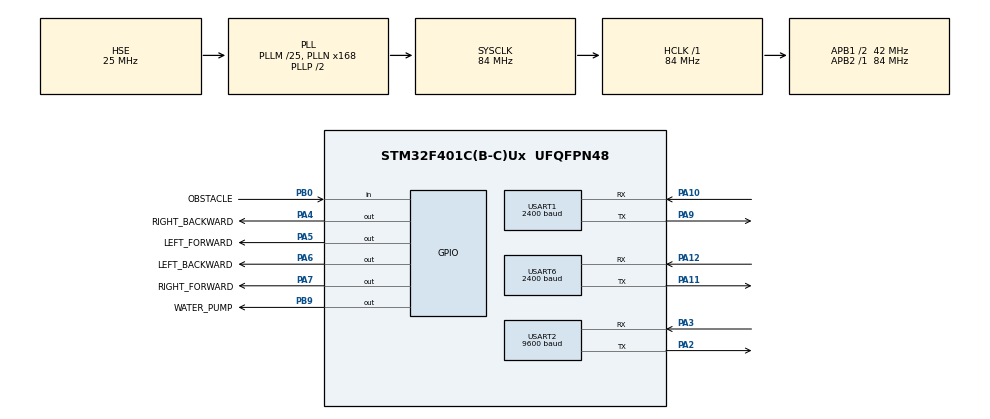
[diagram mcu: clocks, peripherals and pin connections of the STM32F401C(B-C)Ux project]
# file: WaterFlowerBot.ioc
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Mcu.Family=STM32F4
Mcu.Name=STM32F401C(B-C)Ux
Mcu.Package=UFQFPN48
NVIC.PriorityGroup=NVIC_PRIORITYGROUP_4
NVIC.TIM2_IRQn=true\:0\:0\:false\:false\:true\:true\:true
NVIC.USART2_IRQn=true\:0\:0\:false\:false\:true\:true\:true
PA10.Mode=Asynchronous
PA10.Signal=USART1_RX
PA11.Mode=Asynchronous
PA11.Signal=USART6_TX
PA12.Mode=Asynchronous
PA12.Signal=USART6_RX
PA13.Mode=Serial_Wire
PA13.Signal=SYS_JTMS-SWDIO
PA14.Mode=Serial_Wire
PA14.Signal=SYS_JTCK-SWCLK
PA2.Mode=Asynchronous
PA2.Signal=USART2_TX
PA3.Mode=Asynchronous
PA3.Signal=USART2_RX
PA4.GPIO_Label=RIGHT_BACKWARD
PA4.Signal=GPIO_Output
PA5.GPIO_Label=LEFT_FORWARD
PA5.Signal=GPIO_Output
PA6.GPIO_Label=LEFT_BACKWARD
PA6.Signal=GPIO_Output
PA7.GPIO_Label=RIGHT_FORWARD
PA7.Signal=GPIO_Output
PA9.Mode=Asynchronous
PA9.Signal=USART1_TX
PB0.GPIO_Label=OBSTACLE
PB0.Signal=GPIO_Input
PB9.GPIO_Label=WATER_PUMP
PB9.Signal=GPIO_Output
PC14-OSC32_IN.Mode=LSE-External-Oscillator
PC14-OSC32_IN.Signal=RCC_OSC32_IN
PC15-OSC32_OUT.Mode=LSE-External-Oscillator
PC15-OSC32_OUT.Signal=RCC_OSC32_OUT
PH0\ -\ OSC_IN.Mode=HSE-External-Oscillator
PH0\ -\ OSC_IN.Signal=RCC_OSC_IN
PH1\ -\ OSC_OUT.Mode=HSE-External-Oscillator
PH1\ -\ OSC_OUT.Signal=RCC_OSC_OUT
ProjectManager.HeapSize=0x200
ProjectManager.StackSize=0x400
ProjectManager.TargetToolchain=STM32CubeIDE
RCC.48MHZClocksFreq_Value=42000000
RCC.AHBFreq_Value=84000000
RCC.APB1CLKDivider=RCC_HCLK_DIV2
RCC.APB1Freq_Value=42000000
RCC.APB1TimFreq_Value=84000000
RCC.APB2Freq_Value=84000000
RCC.APB2TimFreq_Value=84000000
RCC.CortexFreq_Value=84000000
RCC.HCLKFreq_Value=84000000
RCC.HSE_VALUE=25000000
RCC.HSI_VALUE=16000000
RCC.PLLM=25
RCC.PLLN=168
RCC.PLLSourceVirtual=RCC_PLLSOURCE_HSE
RCC.SYSCLKFreq_VALUE=84000000
RCC.SYSCLKSource=RCC_SYSCLKSOURCE_PLLCLK
RCC.VCOOutputFreq_Value=168000000
TIM2.Period=1999
TIM2.Prescaler=720
USART1.BaudRate=2400
USART1.Parity=PARITY_EVEN
USART1.StopBits=STOPBITS_2
USART1.VirtualMode=VM_ASYNC
USART2.BaudRate=9600
USART2.VirtualMode=VM_ASYNC
USART6.BaudRate=2400
USART6.Parity=PARITY_EVEN
USART6.StopBits=STOPBITS_2
USART6.VirtualMode=VM_ASYNC
VP_TIM2_VS_ClockSourceINT.Mode=Internal
board=custom

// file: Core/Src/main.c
/* USER CODE BEGIN Header */
/**
 ******************************************************************************
 * @file           : main.c
 * @brief          : Main program body
 ******************************************************************************
 * @attention
 *
 * <h2><center>&copy; Copyright (c) 2021 STMicroelectronics.
 * All rights reserved.</center></h2>
 *
 * This software component is licensed by ST under BSD 3-Clause license,
 * the "License"; You may not use this file except in compliance with the
 * License. You may obtain a copy of the License at:
 *                        opensource.org/licenses/BSD-3-Clause
 *
 ******************************************************************************
 */
/* USER CODE END Header */
#include "main.h"

/* USER CODE BEGIN Includes */
#include "mylib.h"
/* USER CODE END Includes */

TIM_HandleTypeDef htim2;

UART_HandleTypeDef huart1;
UART_HandleTypeDef huart2;
UART_HandleTypeDef huart6;

void SystemClock_Config(void);
static void MX_GPIO_Init(void);
static void MX_USART1_UART_Init(void);
static void MX_USART6_UART_Init(void);
static void MX_USART2_UART_Init(void);
static void MX_TIM2_Init(void);

/* USER CODE BEGIN 0 */
uint8_t Rx_left[10];
uint8_t Rx_right[10];

int8_t left = 0;
int8_t right = 0;

int8_t previous = 0;
uint8_t flowerCode = CODE_R;
uint8_t leftRightForward = 0;

uint16_t findAmount(uint8_t flowerCode)
{
	for (int8_t i = 0; i < 3; i++) {
			if (amount[i].flowerCode == flowerCode)
				return amount[i].waterAmount;
		}
return 0;
}

void stop() {
	HAL_GPIO_WritePin(GPIOA,
			RIGHT_BACKWARD_Pin | LEFT_FORWARD_Pin | LEFT_BACKWARD_Pin
					| RIGHT_FORWARD_Pin, GPIO_PIN_RESET);
	left = 0;
	right = 0;

}

void forward() {
	stop();
	HAL_GPIO_WritePin(GPIOA, RIGHT_FORWARD_Pin | LEFT_FORWARD_Pin,GPIO_PIN_SET);
	left = 1;
	right = 1;
}

void turnLeft() {
	stop();
	HAL_GPIO_WritePin(RIGHT_FORWARD_GPIO_Port, RIGHT_FORWARD_Pin, GPIO_PIN_SET);

	HAL_GPIO_WritePin(LEFT_BACKWARD_GPIO_Port, LEFT_BACKWARD_Pin, GPIO_PIN_SET);
	left = -1;
	right = 1;

	previous = -1;

}

void turnRight() {
	stop();
	HAL_GPIO_WritePin(LEFT_FORWARD_GPIO_Port, LEFT_FORWARD_Pin, GPIO_PIN_SET);

	HAL_GPIO_WritePin(RIGHT_BACKWARD_GPIO_Port, RIGHT_BACKWARD_Pin, GPIO_PIN_SET);
	left = 1;
	right = -1;

	previous = 1;

}
void backward() {
	stop();
	HAL_GPIO_WritePin(GPIOA, RIGHT_BACKWARD_Pin | LEFT_BACKWARD_Pin,GPIO_PIN_SET);
	left = -1;
	right = -1;

}

void readLeftSensor() {
	HAL_UART_Receive(&huart6, Rx_left, 10, 100);
}

void readRightSensor() {
	HAL_UART_Receive(&huart1, Rx_right, 10, 100);
}

void pumpON() {
	HAL_GPIO_WritePin(WATER_PUMP_GPIO_Port, WATER_PUMP_Pin, GPIO_PIN_RESET);
}

void pumpOFF() {
	HAL_GPIO_WritePin(WATER_PUMP_GPIO_Port, WATER_PUMP_Pin, GPIO_PIN_SET);
}

void pump(uint16_t time) {
	HAL_Delay(100);
	pumpON();
	HAL_Delay(time);
	pumpOFF();
	HAL_Delay(100);
}

void readSensor() {
	readLeftSensor();
	readRightSensor();
}

uint8_t karar(uint8_t code) {
	uint8_t rcount = 0;
	uint8_t lcount = 0;
	for (uint8_t i = 0; i < 10; ++i) // Using for loop we are initializing
			{
		if (Rx_right[i] == code) {
			rcount++;
		}

		if (Rx_left[i] == code) {
			lcount++;
		}

	}

	if (rcount > 0 && lcount > 0) {
		return 0;
	} else if (lcount > 0) {
		return 1;
	} else if (rcount > 0) {
		return 2;
	} else {
		return 3;
	}

}

void resetReadValue() {
	for (uint8_t i = 0; i < 10; ++i) {
		Rx_right[i] = Rx_left[i] = 0;
	}
}

uint8_t readProximity() {
	if (!HAL_GPIO_ReadPin(OBSTACLE_GPIO_Port, OBSTACLE_Pin)) {
		return 1;
	} else {
		return 0;
	}
}

void ara() {
	readSensor();
	leftRightForward = karar(flowerCode);

	switch (leftRightForward) {
	case 0:
		if (readProximity()) {
			HAL_Delay(100);
			stop();

			pump(findAmount(flowerCode));

			if (flowerCode == CODE_R)
				{flowerCode = CODE_G;}
			else if (flowerCode == CODE_G)
				{flowerCode = CODE_B;}
			else if (flowerCode == CODE_B)
				{flowerCode = CODE_R;
						backward();
						HAL_Delay(7500);
						stop();
						HAL_Delay(10000);}

		} else {
			forward();
		}
		break;

	case 1:

		turnLeft();
		break;

	case 2:

		turnRight();
		break;
	case 3:
		//obstacle detected
		if (readProximity()) {

			backward();
			HAL_Delay(5000);

		} else {
			if (previous > 0) {
				turnRight();

			} else {
				turnLeft();
			}

			//forward();
			//HAL_Delay(2500);
		}
		break;
	default:

		break;
	}

	resetReadValue();
}

/* USER CODE END 0 */

int main(void)
{

  /* MCU Configuration--------------------------------------------------------*/

  /* Reset of all peripherals, Initializes the Flash interface and the Systick. */
  HAL_Init();

  /* Configure the system clock */
  SystemClock_Config();

  /* Initialize all configured peripherals */
  MX_GPIO_Init();
  MX_USART1_UART_Init();
  MX_USART6_UART_Init();
  MX_USART2_UART_Init();
  MX_TIM2_Init();
  /* USER CODE BEGIN 2 */

	pumpOFF();
	HAL_Delay(100);
	memset(buffer, 0, sizeof(buffer));
	HAL_TIM_Base_Start_IT(&htim2);
	__HAL_UART_ENABLE_IT(&huart2, UART_IT_RXNE);

  /* USER CODE END 2 */

  /* Infinite loop */
  /* USER CODE BEGIN WHILE */
	while (1) {

		if (automode == 1) {
			ara();

		}

    /* USER CODE END WHILE */

	}
}

void SystemClock_Config(void)
{
  RCC_OscInitTypeDef RCC_OscInitStruct = {0};
  RCC_ClkInitTypeDef RCC_ClkInitStruct = {0};

  /** Configure the main internal regulator output voltage
  */
  __HAL_RCC_PWR_CLK_ENABLE();
  __HAL_PWR_VOLTAGESCALING_CONFIG(PWR_REGULATOR_VOLTAGE_SCALE2);
  /** Initializes the RCC Oscillators according to the specified parameters
  * in the RCC_OscInitTypeDef structure.
  */
  RCC_OscInitStruct.OscillatorType = RCC_OSCILLATORTYPE_HSE;
  RCC_OscInitStruct.HSEState = RCC_HSE_ON;
  RCC_OscInitStruct.PLL.PLLState = RCC_PLL_ON;
  RCC_OscInitStruct.PLL.PLLSource = RCC_PLLSOURCE_HSE;
  RCC_OscInitStruct.PLL.PLLM = 25;
  RCC_OscInitStruct.PLL.PLLN = 168;
  RCC_OscInitStruct.PLL.PLLP = RCC_PLLP_DIV2;
  RCC_OscInitStruct.PLL.PLLQ = 4;
  if (HAL_RCC_OscConfig(&RCC_OscInitStruct) != HAL_OK)
  {
    Error_Handler();
  }
  /** Initializes the CPU, AHB and APB buses clocks
  */
  RCC_ClkInitStruct.ClockType = RCC_CLOCKTYPE_HCLK|RCC_CLOCKTYPE_SYSCLK
                              |RCC_CLOCKTYPE_PCLK1|RCC_CLOCKTYPE_PCLK2;
  RCC_ClkInitStruct.SYSCLKSource = RCC_SYSCLKSOURCE_PLLCLK;
  RCC_ClkInitStruct.AHBCLKDivider = RCC_SYSCLK_DIV1;
  RCC_ClkInitStruct.APB1CLKDivider = RCC_HCLK_DIV2;
  RCC_ClkInitStruct.APB2CLKDivider = RCC_HCLK_DIV1;

  if (HAL_RCC_ClockConfig(&RCC_ClkInitStruct, FLASH_LATENCY_2) != HAL_OK)
  {
    Error_Handler();
  }
}

static void MX_TIM2_Init(void)
{

  TIM_ClockConfigTypeDef sClockSourceConfig = {0};
  TIM_MasterConfigTypeDef sMasterConfig = {0};

  htim2.Instance = TIM2;
  htim2.Init.Prescaler = 720;
  htim2.Init.CounterMode = TIM_COUNTERMODE_UP;
  htim2.Init.Period = 1999;
  htim2.Init.ClockDivision = TIM_CLOCKDIVISION_DIV1;
  htim2.Init.AutoReloadPreload = TIM_AUTORELOAD_PRELOAD_DISABLE;
  if (HAL_TIM_Base_Init(&htim2) != HAL_OK)
  {
    Error_Handler();
  }
  sClockSourceConfig.ClockSource = TIM_CLOCKSOURCE_INTERNAL;
  if (HAL_TIM_ConfigClockSource(&htim2, &sClockSourceConfig) != HAL_OK)
  {
    Error_Handler();
  }
  sMasterConfig.MasterOutputTrigger = TIM_TRGO_RESET;
  sMasterConfig.MasterSlaveMode = TIM_MASTERSLAVEMODE_DISABLE;
  if (HAL_TIMEx_MasterConfigSynchronization(&htim2, &sMasterConfig) != HAL_OK)
  {
    Error_Handler();
  }

}

static void MX_USART1_UART_Init(void)
{

  huart1.Instance = USART1;
  huart1.Init.BaudRate = 2400;
  huart1.Init.WordLength = UART_WORDLENGTH_8B;
  huart1.Init.StopBits = UART_STOPBITS_2;
  huart1.Init.Parity = UART_PARITY_EVEN;
  huart1.Init.Mode = UART_MODE_TX_RX;
  huart1.Init.HwFlowCtl = UART_HWCONTROL_NONE;
  huart1.Init.OverSampling = UART_OVERSAMPLING_16;
  if (HAL_UART_Init(&huart1) != HAL_OK)
  {
    Error_Handler();
  }

}

static void MX_USART2_UART_Init(void)
{

  huart2.Instance = USART2;
  huart2.Init.BaudRate = 9600;
  huart2.Init.WordLength = UART_WORDLENGTH_8B;
  huart2.Init.StopBits = UART_STOPBITS_1;
  huart2.Init.Parity = UART_PARITY_NONE;
  huart2.Init.Mode = UART_MODE_TX_RX;
  huart2.Init.HwFlowCtl = UART_HWCONTROL_NONE;
  huart2.Init.OverSampling = UART_OVERSAMPLING_16;
  if (HAL_UART_Init(&huart2) != HAL_OK)
  {
    Error_Handler();
  }

}

static void MX_USART6_UART_Init(void)
{

  huart6.Instance = USART6;
  huart6.Init.BaudRate = 2400;
  huart6.Init.WordLength = UART_WORDLENGTH_8B;
  huart6.Init.StopBits = UART_STOPBITS_2;
  huart6.Init.Parity = UART_PARITY_EVEN;
  huart6.Init.Mode = UART_MODE_TX_RX;
  huart6.Init.HwFlowCtl = UART_HWCONTROL_NONE;
  huart6.Init.OverSampling = UART_OVERSAMPLING_16;
  if (HAL_UART_Init(&huart6) != HAL_OK)
  {
    Error_Handler();
  }

}

static void MX_GPIO_Init(void)
{
  GPIO_InitTypeDef GPIO_InitStruct = {0};

  /* GPIO Ports Clock Enable */
  __HAL_RCC_GPIOC_CLK_ENABLE();
  __HAL_RCC_GPIOH_CLK_ENABLE();
  __HAL_RCC_GPIOA_CLK_ENABLE();
  __HAL_RCC_GPIOB_CLK_ENABLE();

  /*Configure GPIO pin Output Level */
  HAL_GPIO_WritePin(GPIOA, RIGHT_BACKWARD_Pin|LEFT_FORWARD_Pin|LEFT_BACKWARD_Pin|RIGHT_FORWARD_Pin, GPIO_PIN_RESET);

  /*Configure GPIO pin Output Level */
  HAL_GPIO_WritePin(WATER_PUMP_GPIO_Port, WATER_PUMP_Pin, GPIO_PIN_RESET);

  /*Configure GPIO pins : RIGHT_BACKWARD_Pin LEFT_FORWARD_Pin LEFT_BACKWARD_Pin RIGHT_FORWARD_Pin */
  GPIO_InitStruct.Pin = RIGHT_BACKWARD_Pin|LEFT_FORWARD_Pin|LEFT_BACKWARD_Pin|RIGHT_FORWARD_Pin;
  GPIO_InitStruct.Mode = GPIO_MODE_OUTPUT_PP;
  GPIO_InitStruct.Pull = GPIO_NOPULL;
  GPIO_InitStruct.Speed = GPIO_SPEED_FREQ_LOW;
  HAL_GPIO_Init(GPIOA, &GPIO_InitStruct);

  /*Configure GPIO pin : OBSTACLE_Pin */
  GPIO_InitStruct.Pin = OBSTACLE_Pin;
  GPIO_InitStruct.Mode = GPIO_MODE_INPUT;
  GPIO_InitStruct.Pull = GPIO_NOPULL;
  HAL_GPIO_Init(OBSTACLE_GPIO_Port, &GPIO_InitStruct);

  /*Configure GPIO pin : WATER_PUMP_Pin */
  GPIO_InitStruct.Pin = WATER_PUMP_Pin;
  GPIO_InitStruct.Mode = GPIO_MODE_OUTPUT_PP;
  GPIO_InitStruct.Pull = GPIO_NOPULL;
  GPIO_InitStruct.Speed = GPIO_SPEED_FREQ_LOW;
  HAL_GPIO_Init(WATER_PUMP_GPIO_Port, &GPIO_InitStruct);

}

void Error_Handler(void)
{
	__disable_irq();
	while (1) {
	}
}

/************************ (C) COPYRIGHT STMicroelectronics *****END OF FILE****/
